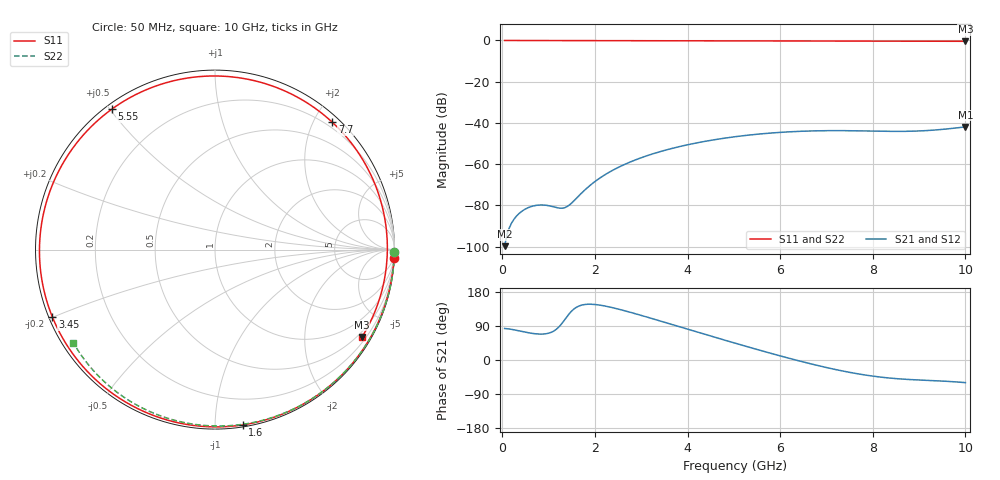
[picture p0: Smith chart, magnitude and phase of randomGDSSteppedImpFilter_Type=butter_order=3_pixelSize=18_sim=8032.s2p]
! freq	dB(S11)	phase(S11)	dB(S12)	phase(S12)
!  dB(S21)	phase(S21)	dB(S22)	phase(S22)
!S-par simulation data
#  GHz  S  DB  R 50
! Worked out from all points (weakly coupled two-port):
!   200 points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, 50 MHz to 10 GHz, reference 50 ohm
!   highest |S21| = -41.89 dB at 10 GHz (marker M1); lowest = -99.7 dB at 50 MHz (marker M2)
!   lowest |S11| = -0.4 dB at 10 GHz (marker M3), VSWR 41.34, Z = 17 - j180 ohm
!   |S11| at or under -10 dB: nowhere
!   |S22| runs from -0.5 to 0.0 dB; largest |S21 - S12| = 0
!   S11 on the Smith chart (normalised r, x): 50 MHz: 1, -44; 1.6 GHz: 0.01, -1.17; 3.45 GHz: 0.01, -0.20; 5.55 GHz: 0.02, +0.51; 7.7 GHz: 0.11, +2.28; 10 GHz: 0.34, -3.60
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0.05  -0.01 -2.6  -99.72 83.2  -99.72 83.2  -0.00 -0.8
0.45  -0.04 -23.8  -82.36 74.5  -82.36 74.5  -0.01 -7.6
0.9  -0.06 -47.0  -79.79 68.7  -79.79 68.7  -0.02 -15.2
1.4  -0.09 -71.6  -80.53 115.1  -80.53 115.1  -0.03 -23.6
1.6  -0.10 -81.0  -76.52 139.0  -76.52 139.0  -0.03 -26.9
1.75  -0.10 -87.9  -73.16 145.8  -73.16 145.8  -0.04 -29.4
2.05  -0.12 -101.2  -67.58 145.8  -67.58 145.8  -0.04 -34.3
2.45  -0.13 -118.2  -62.15 136.0  -62.15 136.0  -0.05 -40.8
2.95  -0.15 -138.3  -57.26 119.5  -57.26 119.5  -0.06 -48.7
3.4  -0.17 -155.6  -53.95 103.4  -53.95 103.4  -0.07 -55.8
3.45  -0.17 -157.4  -53.63 101.5  -53.63 101.5  -0.08 -56.6
3.85  -0.18 -172.3  -51.33 87.0  -51.33 87.0  -0.09 -62.7
4.25  -0.20 173.2  -49.43 72.4  -49.43 72.4  -0.10 -68.8
5.05  -0.24 144.4  -46.59 43.6  -46.59 43.6  -0.12 -80.5
5.55  -0.26 126.4  -45.36 26.1  -45.36 26.1  -0.14 -87.7
6.15  -0.28 104.5  -44.35 5.9  -44.35 5.9  -0.17 -96.0
6.7  -0.29 84.2  -43.85 -11.3  -43.85 -11.3  -0.20 -103.6
7.2  -0.30 65.7  -43.72 -25.3  -43.72 -25.3  -0.23 -110.3
7.7  -0.31 47.3  -43.82 -36.9  -43.82 -36.9  -0.27 -116.9
8.35  -0.33 23.9  -44.06 -47.5  -44.06 -47.5  -0.32 -125.4
9.15  -0.36 -3.7  -43.71 -53.6  -43.71 -53.6  -0.40 -135.7
10  -0.42 -30.8  -41.89 -59.7  -41.89 -59.7  -0.49 -146.7
